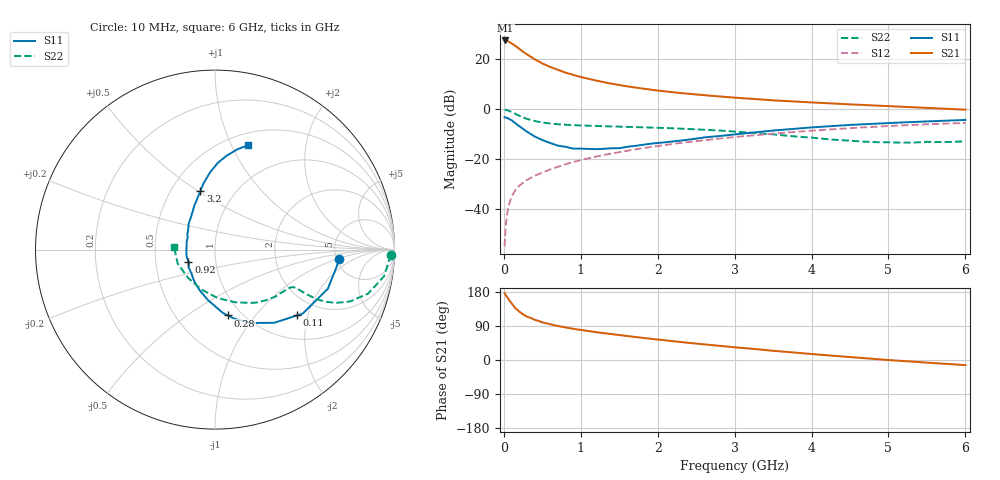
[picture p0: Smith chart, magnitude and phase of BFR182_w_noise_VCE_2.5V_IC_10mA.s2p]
! Infineon Technologies  Discrete & RF Semiconductors
! BFR182
! VCE =  2.5 V,  IC =  10 mA
! Common Emitter S-Parameters:  Nov 2015
# GHz  S  MA  R  50
!  f  S11  S21  S12  S22
! GHz  MAG  ANG  MAG  ANG  MAG  ANG  MAG  ANG
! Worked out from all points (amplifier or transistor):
!   210 points, 10 MHz to 6 GHz, reference 50 ohm
!   highest |S21| = 27.6 dB at 20 MHz (marker M1)
!   |S21| within 3 dB of that: start of sweep to 185.3 MHz
!   unconditionally stable (mu >= 1): 778.2 MHz to 2.618 GHz
!   at 185 MHz: K = 0.52, MSG = 27.9 dB, |S12| = -31.2 dB
!   at 1.52 GHz: K = 1.05, MAG = 11.9 dB, |S12| = -17.1 dB
!   at 6 GHz: K = 0.89, MSG = 2.7 dB, |S12| = -5.5 dB
!   lowest NFmin = 1.50 dB at 450 MHz
!   S11 on the Smith chart (normalised r, x): 10 MHz: 5.29, -1.03; 110 MHz: 1.53, -1.71; 280 MHz: 0.86, -0.74; 920 MHz: 0.74, -0.10; 3.2 GHz: 0.69, +0.51; 6 GHz: 0.62, +1.16
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0.01  0.6921 -4.2  23.87 176.5  0.0018 91.0  0.9815 -1.8
0.02  0.6851 -7.8  23.9 172.9  0.0034 87.0  0.9705 -3.7
0.05  0.6657 -19.1  23.27 163.5  0.0093 78.9  0.9538 -8.9
0.1  0.6048 -36.1  21.09 149.3  0.0175 72.9  0.8871 -16.1
0.11  0.5859 -38.7  20.53 147.0  0.0188 72.2  0.8704 -17.0
0.15  0.5247 -51.0  18.64 136.6  0.024 70.0  0.8062 -21.0
0.2  0.4582 -63.2  16.26 127.7  0.0291 67.5  0.7384 -23.7
0.24  0.4145 -71.3  14.59 121.9  0.0328 66.6  0.6939 -24.9
0.28  0.3738 -78.9  13.19 116.9  0.0364 66.4  0.6569 -25.6
0.3  0.355 -83.0  12.55 114.4  0.0382 66.4  0.6396 -25.9
0.4  0.285 -97.7  10.05 106.3  0.0462 66.3  0.5793 -26.0
0.5  0.2418 -110.8  8.265 99.4  0.0537 67.0  0.5417 -25.8
0.7  0.1871 -134.3  6.16 89.7  0.07 68.2  0.5001 -25.5
0.92  0.1622 -155.8  4.775 81.7  0.0889 68.5  0.478 -26.0
1.02  0.1621 -166.8  4.354 78.7  0.0969 68.3  0.4715 -26.6
1.4  0.165 162.3  3.243 68.3  0.1293 67.3  0.4524 -30.0
2.02  0.2114 132.6  2.349 53.6  0.1851 63.3  0.4256 -38.1
3.1  0.3244 105.7  1.664 31.8  0.2861 53.5  0.3476 -58.5
3.2  0.3364 104.1  1.623 30.1  0.2956 52.5  0.3381 -61.0
4.1  0.442 92.4  1.344 14.1  0.3808 42.6  0.2601 -90.8
5.1  0.5372 81.6  1.139 -1.4  0.4692 30.2  0.2149 -138.6
6  0.6098 72.5  0.98 -13.6  0.5315 17.8  0.2283 176.8
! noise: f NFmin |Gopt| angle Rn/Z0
0.45  1.5  0.26  43  0.28
0.9  1.6  0.24  87  0.22
1.8  2.1  0.2  170  0.2
